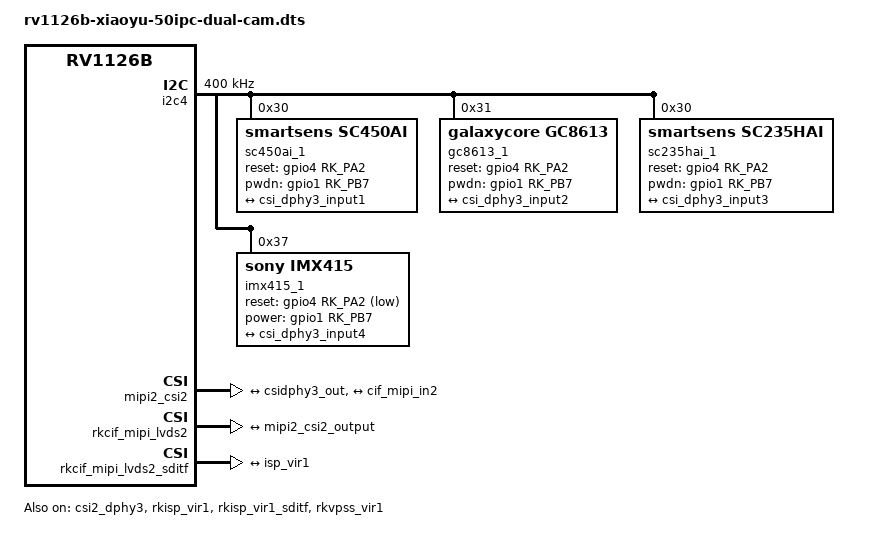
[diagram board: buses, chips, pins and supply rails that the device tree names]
// SPDX-License-Identifier: (GPL-2.0+ OR MIT)
/*
 * Copyright (c) 2025 Rockchip Electronics Co., Ltd.
 * Copyright (c) 2026 flippy (flippy@sina.com)
 */

#include "rv1126b-xiaoyu-50ipc.dts"

/*
 * csi2_dphy0 -> csi0(rx0) clk0 + 4 lane ==> imx415_0
 *                           or + 2 lane ==> sc450ai_0
 * csi2_dphy1 -> csi0(rx0) clk0 + 2 lane 0/1
 * csi2_dphy2 -> csi0(rx0) clk1 + 2 lane 2/3
 * csi2_dphy3 -> csi1(rx1) clk0 + 4 lane ==> imx415_1
 *                           or + 2 lane ==> sc450ai_1
 * csi2_dphy4 -> csi1(rx1) clk0 + 2 lane 0/1
 * csi2_dphy5 -> csi1(rx1) clk1 + 2 lane 2/3
 */
&csi2_dphy3 {
	status = "okay";

	ports {
		#address-cells = <1>;
		#size-cells = <0>;

		port@0 {
			reg = <0>;
			#address-cells = <1>;
			#size-cells = <0>;

			csi_dphy3_input1: endpoint@1 {
				reg = <1>;
				remote-endpoint = <&sc450ai_1_out>;
				data-lanes = <1 2>;
			};

			csi_dphy3_input2: endpoint@2 {
				reg = <2>;
				remote-endpoint = <&gc8613_1_out>;
				data-lanes = <1 2 3 4>;
			};

			csi_dphy3_input3: endpoint@3 {
				reg = <3>;
				remote-endpoint = <&sc235hai_1_out>;
				data-lanes = <1 2>;
			};

			csi_dphy3_input4: endpoint@4 {
				reg = <4>;
				remote-endpoint = <&imx415_1_out>;
				data-lanes = <1 2 3 4>;
			};
		};

		port@1 {
			reg = <1>;
			#address-cells = <1>;
			#size-cells = <0>;

			csidphy3_out: endpoint@0 {
				reg = <0>;
				remote-endpoint = <&mipi2_csi2_input>;
			};
		};
	};
};

/* sensor1 */
&i2c4 {
	clock-frequency = <400000>;
	pinctrl-0 = <&i2c4m2_pins>;
	status = "okay";

	sc450ai_1: sc450ai_1@30 {
		compatible = "smartsens,sc450ai";
		reg = <0x30>;
		clocks = <&cru CLK_MIPI1_OUT2IO>;
		clock-names = "xvclk";

		reset-gpios = <&gpio4 RK_PA2 GPIO_ACTIVE_HIGH>;
		pwdn-gpios = <&gpio1 RK_PB7 GPIO_ACTIVE_HIGH>;
		pinctrl-names = "default";
		pinctrl-0 = <&cam_clk1_pins>;

		rockchip,camera-module-index = <1>;
		rockchip,camera-module-facing = "back";
		rockchip,camera-module-name = "CRK4F4209";
		rockchip,camera-module-lens-name = "styleTstP0";
		status = "okay";

		port {
			sc450ai_1_out: endpoint {
				remote-endpoint = <&csi_dphy3_input1>;
				data-lanes = <1 2>;
			};
		};
	};

	gc8613_1: gc8613_1@31 {
		compatible = "galaxycore,gc8613";
		reg = <0x31>;
		clocks = <&cru CLK_MIPI1_OUT2IO>;
		clock-names = "xvclk";

		reset-gpios = <&gpio4 RK_PA2 GPIO_ACTIVE_HIGH>;
		pwdn-gpios = <&gpio1 RK_PB7 GPIO_ACTIVE_HIGH>;
		pinctrl-names = "default";
		pinctrl-0 = <&cam_clk1_pins>;

		rockchip,camera-module-index = <1>;
		rockchip,camera-module-facing = "back";
		rockchip,camera-module-name = "xiaoyu";
		rockchip,camera-module-lens-name = "50ipc";
		status = "okay";

		port {
			gc8613_1_out: endpoint {
				remote-endpoint = <&csi_dphy3_input2>;
				data-lanes = <1 2 3 4>;
			};
		};
	};

	sc235hai_1: sc235hai_1@30 {
		compatible = "smartsens,sc235hai";
		reg = <0x30>;
		clocks = <&cru CLK_MIPI1_OUT2IO>;
		clock-names = "xvclk";

		reset-gpios = <&gpio4 RK_PA2 GPIO_ACTIVE_HIGH>;
		pwdn-gpios = <&gpio1 RK_PB7 GPIO_ACTIVE_HIGH>;
		pinctrl-names = "default";
		pinctrl-0 = <&cam_clk1_pins>;

		rockchip,camera-module-index = <1>;
		rockchip,camera-module-facing = "back";
		rockchip,camera-module-name = "xiaoyu";
		rockchip,camera-module-lens-name = "50ipc";
		status = "okay";

		port {
			sc235hai_1_out: endpoint {
				remote-endpoint = <&csi_dphy3_input3>;
				data-lanes = <1 2>;
			};
		};
	};

	imx415_1: imx415_1@37 {
		compatible = "sony,imx415";
		reg = <0x37>;
		clocks = <&cru CLK_MIPI1_OUT2IO>;
		clock-names = "xvclk";

		reset-gpios = <&gpio4 RK_PA2 GPIO_ACTIVE_LOW>;
		power-gpios = <&gpio1 RK_PB7 GPIO_ACTIVE_HIGH>;
		pinctrl-names = "default";
		pinctrl-0 = <&cam_clk1_pins>;

		rockchip,camera-module-index = <1>;
		rockchip,camera-module-facing = "back";
		rockchip,camera-module-name = "xiaoyu";
		rockchip,camera-module-lens-name = "50ipc";
		status = "okay";

		port {
			imx415_1_out: endpoint {
				remote-endpoint = <&csi_dphy3_input4>;
				data-lanes = <1 2 3 4>;
			};
		};
	};
};

&mipi2_csi2 {
	status = "okay";

	ports {
		#address-cells = <1>;
		#size-cells = <0>;

		port@0 {
			reg = <0>;
			#address-cells = <1>;
			#size-cells = <0>;

			mipi2_csi2_input: endpoint@1 {
				reg = <1>;
				remote-endpoint = <&csidphy3_out>;
			};
		};

		port@1 {
			reg = <1>;
			#address-cells = <1>;
			#size-cells = <0>;

			mipi2_csi2_output: endpoint@0 {
				reg = <0>;
				remote-endpoint = <&cif_mipi_in2>;
			};
		};
	};
};

&rkcif_mipi_lvds2 {
	status = "okay";

	port {
		cif_mipi_in2: endpoint {
			remote-endpoint = <&mipi2_csi2_output>;
		};
	};
};

&rkcif_mipi_lvds2_sditf {
	status = "okay";

	port {
		mipi_lvds2_sditf: endpoint {
			remote-endpoint = <&isp_vir1>;
		};
	};
};

&rkisp_vir1 {
	status = "okay";

	port {
		#address-cells = <1>;
		#size-cells = <0>;

		isp_vir1: endpoint@0 {
			reg = <0>;
			remote-endpoint = <&mipi_lvds2_sditf>;
		};
	};
};

&rkisp_vir1_sditf {
	status = "okay";
};

&rkvpss_vir1 {
	status = "okay";
};
